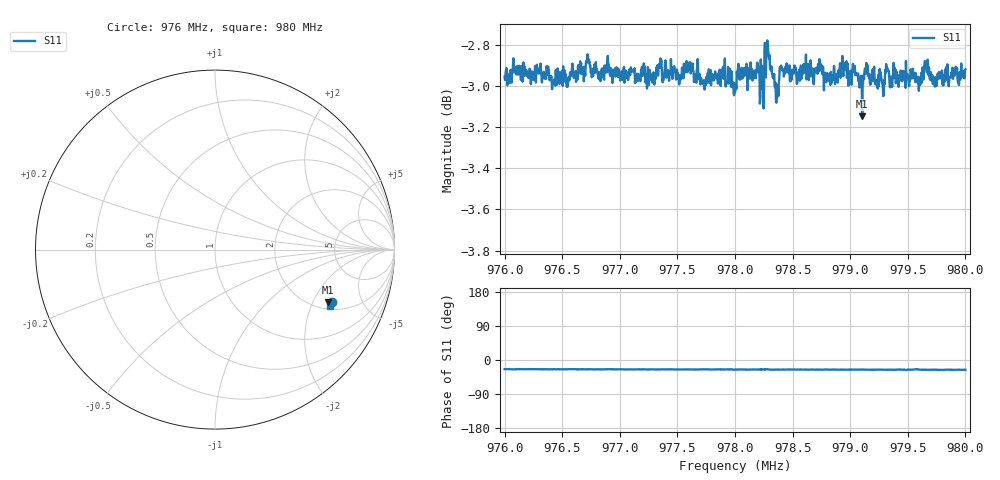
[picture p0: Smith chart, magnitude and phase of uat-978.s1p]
! Calibrated averaged scanner-service zoom
# Hz S RI R 50
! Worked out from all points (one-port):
!   1001 points, 976 MHz to 980 MHz, reference 50 ohm
!   lowest |S11| = -3.1 dB at 979.104 MHz (marker M1), VSWR 5.58, Z = 115 - j132 ohm
!   |S11| at or under -10 dB: nowhere
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9.76e8  0.6492 -0.2917
9.765e8  0.6503 -0.2949
9.76724e8  0.6544 -0.2948
9.77e8  0.6482 -0.2984
9.775e8  0.6449 -0.3026
9.77672e8  0.6459 -0.304
9.7774e8  0.6448 -0.2961
9.78e8  0.6379 -0.3011
9.78048e8  0.6435 -0.3016
9.78232e8  0.6431 -0.3048
9.78276e8  0.6549 -0.2991
9.7832e8  0.6437 -0.3075
9.78356e8  0.635 -0.2982
9.78408e8  0.6459 -0.3049
9.785e8  0.6466 -0.3025
9.78736e8  0.6468 -0.3044
9.79e8  0.6407 -0.3054
9.79104e8  0.6305 -0.2947
9.79152e8  0.6444 -0.3117
9.79388e8  0.6392 -0.3115
9.79432e8  0.641 -0.3064
9.795e8  0.6449 -0.3029
9.79576e8  0.647 -0.2919
9.79652e8  0.6452 -0.3139
9.79728e8  0.6414 -0.3056
9.798e8  0.6354 -0.3139
9.7994e8  0.6413 -0.3073
9.8e8  0.6417 -0.3143
